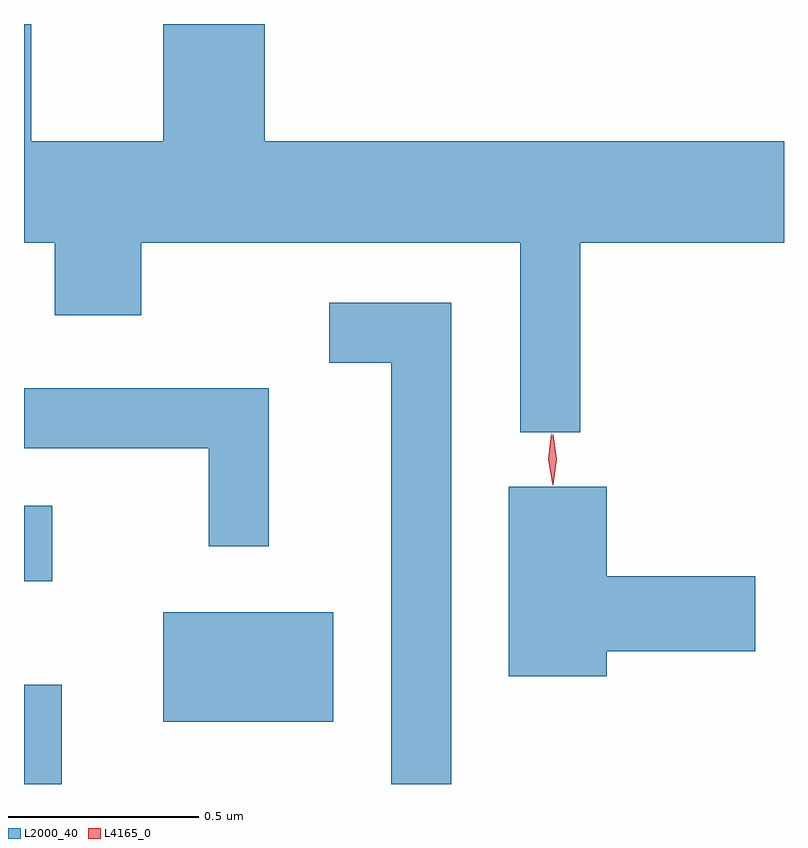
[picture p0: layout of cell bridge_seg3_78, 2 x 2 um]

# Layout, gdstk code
import gdstk
lib = gdstk.Library(unit=1e-6, precision=1e-09)
def R(c, l, rs):  # rectangles x0, y0, x1, y1
    for r in rs: c.add(gdstk.rectangle(r[:2], r[2:], *l))
def P(c, l, *ps):  # polygons
    for p in ps: c.add(gdstk.Polygon(p, *l))
L2000_40 = (2000, 40)
L4165_0 = (4165, 0)

bridge_seg3_78 = lib.new_cell('bridge_seg3_78')
R(bridge_seg3_78, L2000_40, [(1153.77,1149.012,1153.869,1149.273), (1154.136,1149.176,1154.584,1149.464), (1153.77,1149.546,1153.844,1149.744)])
P(bridge_seg3_78, L2000_40, [(1155.234,1150.436),(1155.77,1150.436),(1155.77,1150.704),(1154.404,1150.704),(1154.404,1151.012),(1154.136,1151.012),(1154.136,1150.704),(1153.789,1150.704),(1153.789,1151.012),(1153.77,1151.012),(1153.77,1150.436),(1153.851,1150.436),(1153.851,1150.246),(1154.079,1150.246),(1154.079,1150.436),(1155.076,1150.436),(1155.076,1149.938),(1155.234,1149.938)],
  [(1154.894,1150.279),(1154.573,1150.279),(1154.573,1150.121),(1154.736,1150.121),(1154.736,1149.012),(1154.894,1149.012)],
  [(1154.414,1150.054),(1153.77,1150.054),(1153.77,1149.896),(1154.256,1149.896),(1154.256,1149.638),(1154.414,1149.638)],
  [(1155.304,1149.361),(1155.694,1149.361),(1155.694,1149.559),(1155.304,1149.559),(1155.304,1149.794),(1155.046,1149.794),(1155.046,1149.296),(1155.304,1149.296)])
P(bridge_seg3_78, L4165_0, [(1155.162,1149.8),(1155.162,1149.801),(1155.152,1149.866),(1155.162,1149.931),(1155.162,1149.932),(1155.163,1149.931),(1155.172,1149.866),(1155.163,1149.801)],
  [(1155.162,1149.798),(1155.162,1149.798),(1155.15,1149.866),(1155.157,1149.934),(1155.157,1149.935),(1155.158,1149.934),(1155.17,1149.867),(1155.163,1149.798)])

lib.write_gds('bridge_seg3_78.gds')
